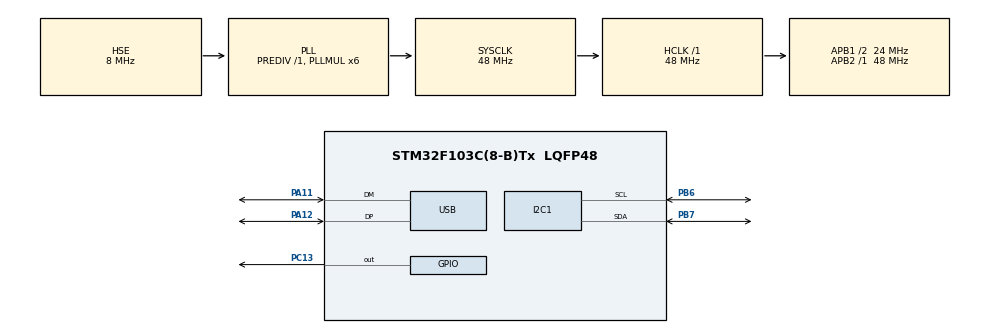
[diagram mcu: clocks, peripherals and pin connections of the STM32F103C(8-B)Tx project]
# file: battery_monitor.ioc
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Mcu.Family=STM32F1
Mcu.Name=STM32F103C(8-B)Tx
Mcu.Package=LQFP48
NVIC.PriorityGroup=NVIC_PRIORITYGROUP_4
NVIC.USB_LP_CAN1_RX0_IRQn=true\:0\:0\:false\:false\:true\:false\:true\:true
PA11.Mode=Device
PA11.Signal=USB_DM
PA12.Mode=Device
PA12.Signal=USB_DP
PA13.Mode=Serial_Wire
PA13.Signal=SYS_JTMS-SWDIO
PA14.Mode=Serial_Wire
PA14.Signal=SYS_JTCK-SWCLK
PB6.Mode=I2C
PB6.Signal=I2C1_SCL
PB7.Mode=I2C
PB7.Signal=I2C1_SDA
PC13-TAMPER-RTC.Signal=GPIO_Output
PD0-OSC_IN.Mode=HSE-External-Oscillator
PD0-OSC_IN.Signal=RCC_OSC_IN
PD1-OSC_OUT.Mode=HSE-External-Oscillator
PD1-OSC_OUT.Signal=RCC_OSC_OUT
ProjectManager.HeapSize=0x200
ProjectManager.StackSize=0x400
ProjectManager.TargetToolchain=CMake
RCC.AHBFreq_Value=48000000
RCC.APB1CLKDivider=RCC_HCLK_DIV2
RCC.APB1Freq_Value=24000000
RCC.APB1TimFreq_Value=48000000
RCC.APB2Freq_Value=48000000
RCC.APB2TimFreq_Value=48000000
RCC.HCLKFreq_Value=48000000
RCC.PLLMUL=RCC_PLL_MUL6
RCC.PLLSourceVirtual=RCC_PLLSOURCE_HSE
RCC.SYSCLKFreq_VALUE=48000000
RCC.SYSCLKSource=RCC_SYSCLKSOURCE_PLLCLK
RCC.USBFreq_Value=48000000
USB_DEVICE.CLASS_NAME_FS=CDC
USB_DEVICE.VirtualMode=Cdc
USB_DEVICE.VirtualModeFS=Cdc_FS
VP_USB_DEVICE_VS_USB_DEVICE_CDC_FS.Mode=CDC_FS
board=custom

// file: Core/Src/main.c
/* USER CODE BEGIN Header */
/**
  ******************************************************************************
  * @file           : main.c
  * @brief          : Main program body
  ******************************************************************************
  * @attention
  *
  * Copyright (c) 2026 STMicroelectronics.
  * All rights reserved.
  *
  * This software is licensed under terms that can be found in the LICENSE file
  * in the root directory of this software component.
  * If no LICENSE file comes with this software, it is provided AS-IS.
  *
  ******************************************************************************
  */
/* USER CODE END Header */
#include "main.h"
#include "usb_device.h"

/* USER CODE BEGIN Includes */
#include <stdio.h>
#include "bms.h"

/* USER CODE END Includes */

/* USER CODE BEGIN PD */

/** Time to wait on startup for a USB terminal to connect before printing. */
#define USB_CONNECT_DELAY_MS    10000U

/** How often to print a full BMS status report (milliseconds).
 *  Managed via bms.last_print_ms in the main loop. */
#define BMS_PRINT_INTERVAL_MS   10000U

/** LED toggle period in milliseconds (500ms = 1Hz blink rate). */
#define LED_HEARTBEAT_MS          500U

/** Fast LED blink period used during a fatal init failure (milliseconds). */
#define ERROR_BLINK_DELAY_MS      100U

/* USER CODE END PD */

I2C_HandleTypeDef hi2c1;

/* USER CODE BEGIN PV */
static bms_handle_t g_bms = {0};   /**< BMS system handle */
/* USER CODE END PV */

void SystemClock_Config(void);
static void MX_GPIO_Init(void);
static void MX_I2C1_Init(void);

int main(void)
{

  /* USER CODE BEGIN 1 */
  /* (no local variables — BMS handle is file-scope static g_bms) */
  /* USER CODE END 1 */

  /* MCU Configuration--------------------------------------------------------*/

  /* Reset of all peripherals, Initializes the Flash interface and the Systick. */
  HAL_Init();

  /* Configure the system clock */
  SystemClock_Config();

  /* Initialize all configured peripherals */
  MX_GPIO_Init();
  MX_I2C1_Init();
  MX_USB_DEVICE_Init();
  /* USER CODE BEGIN 2 */

  /* Wait for a USB terminal to connect before printing anything.
   * The BQ76920EVM also needs time to power up from the cell simulator. */
  HAL_Delay(USB_CONNECT_DELAY_MS);

  printf("\r\n\r\n");
  printf("========================================\r\n");
  printf("STM32 BQ76920 Battery Management System\r\n");
  printf("========================================\r\n");
  printf("Initialising BMS...\r\n");

  /* Initialise the BMS state machine.
   * bms_init() handles: BQ76920 driver init, ADC enable, temperature source
   * selection, FET enable, and initial state setup.
   *
   * NOTE: The following driver features are NOT yet integration-tested
   * and will be verified in subsequent test phases:
   *   - FET control (OV/UV/OT fault response) — Phase 5
   *   - Current measurement                   — Phase 3
   */
  if (!bms_init(&g_bms, &hi2c1))
  {
      printf("ERROR: BMS initialisation failed!\r\n");
      printf("Check I2C wiring, pull-up resistors, and BQ76920 power.\r\n");
      while (1)
      {
          HAL_GPIO_TogglePin(LED_GPIO_PORT, LED_PIN);
          HAL_Delay(ERROR_BLINK_DELAY_MS);
      }
  }

  printf("BMS initialised successfully.\r\n");

  /* Start the status print timer NOW so the first bms_print_status call
   * happens BMS_PRINT_INTERVAL_MS (10s) after init, not at t=0.
   * Without this, last_print_ms=0 and the first loop iteration fires
   * immediately because HAL_GetTick() >= USB_CONNECT_DELAY_MS = 10000. */
  g_bms.last_print_ms = HAL_GetTick();

  /* USER CODE END 2 */

  /* Infinite loop */
  while (1)
  {

    /* USER CODE BEGIN 3 */

    /* Run one tick of the BMS state machine.
     * This is non-blocking — all timing is handled internally via HAL_GetTick().
     * Normal cycle: IDLE -> MEASURE -> CHECK_FAULTS -> IDLE (every 2 seconds) */
    bms_run(&g_bms);

    /* Periodic full status report */
    if ((HAL_GetTick() - g_bms.last_print_ms) >= BMS_PRINT_INTERVAL_MS)
    {
        bms_print_status(&g_bms);
        g_bms.last_print_ms = HAL_GetTick();
    }

    /* LED heartbeat — 1Hz blink to show firmware is running */
    HAL_GPIO_TogglePin(LED_GPIO_PORT, LED_PIN);
    HAL_Delay(LED_HEARTBEAT_MS);

  }
  /* USER CODE END 3 */
}

void SystemClock_Config(void)
{
  RCC_OscInitTypeDef RCC_OscInitStruct = {0};
  RCC_ClkInitTypeDef RCC_ClkInitStruct = {0};
  RCC_PeriphCLKInitTypeDef PeriphClkInit = {0};

  /** Initializes the RCC Oscillators according to the specified parameters
  * in the RCC_OscInitTypeDef structure.
  */
  RCC_OscInitStruct.OscillatorType = RCC_OSCILLATORTYPE_HSE;
  RCC_OscInitStruct.HSEState = RCC_HSE_ON;
  RCC_OscInitStruct.HSEPredivValue = RCC_HSE_PREDIV_DIV1;
  RCC_OscInitStruct.HSIState = RCC_HSI_ON;
  RCC_OscInitStruct.PLL.PLLState = RCC_PLL_ON;
  RCC_OscInitStruct.PLL.PLLSource = RCC_PLLSOURCE_HSE;
  RCC_OscInitStruct.PLL.PLLMUL = RCC_PLL_MUL6;
  if (HAL_RCC_OscConfig(&RCC_OscInitStruct) != HAL_OK)
  {
    Error_Handler();
  }

  /** Initializes the CPU, AHB and APB buses clocks
  */
  RCC_ClkInitStruct.ClockType = RCC_CLOCKTYPE_HCLK|RCC_CLOCKTYPE_SYSCLK
                              |RCC_CLOCKTYPE_PCLK1|RCC_CLOCKTYPE_PCLK2;
  RCC_ClkInitStruct.SYSCLKSource = RCC_SYSCLKSOURCE_PLLCLK;
  RCC_ClkInitStruct.AHBCLKDivider = RCC_SYSCLK_DIV1;
  RCC_ClkInitStruct.APB1CLKDivider = RCC_HCLK_DIV2;
  RCC_ClkInitStruct.APB2CLKDivider = RCC_HCLK_DIV1;

  if (HAL_RCC_ClockConfig(&RCC_ClkInitStruct, FLASH_LATENCY_1) != HAL_OK)
  {
    Error_Handler();
  }
  PeriphClkInit.PeriphClockSelection = RCC_PERIPHCLK_USB;
  PeriphClkInit.UsbClockSelection = RCC_USBCLKSOURCE_PLL;
  if (HAL_RCCEx_PeriphCLKConfig(&PeriphClkInit) != HAL_OK)
  {
    Error_Handler();
  }
}

static void MX_I2C1_Init(void)
{

  hi2c1.Instance = I2C1;
  hi2c1.Init.ClockSpeed = 100000;
  hi2c1.Init.DutyCycle = I2C_DUTYCYCLE_2;
  hi2c1.Init.OwnAddress1 = 0;
  hi2c1.Init.AddressingMode = I2C_ADDRESSINGMODE_7BIT;
  hi2c1.Init.DualAddressMode = I2C_DUALADDRESS_DISABLE;
  hi2c1.Init.OwnAddress2 = 0;
  hi2c1.Init.GeneralCallMode = I2C_GENERALCALL_DISABLE;
  hi2c1.Init.NoStretchMode = I2C_NOSTRETCH_DISABLE;
  if (HAL_I2C_Init(&hi2c1) != HAL_OK)
  {
    Error_Handler();
  }

}

static void MX_GPIO_Init(void)
{
  GPIO_InitTypeDef GPIO_InitStruct = {0};

  /* GPIO Ports Clock Enable */
  __HAL_RCC_GPIOC_CLK_ENABLE();
  __HAL_RCC_GPIOD_CLK_ENABLE();
  __HAL_RCC_GPIOA_CLK_ENABLE();
  __HAL_RCC_GPIOB_CLK_ENABLE();

  /*Configure GPIO pin Output Level */
  HAL_GPIO_WritePin(GPIOC, GPIO_PIN_13, GPIO_PIN_RESET);

  /*Configure GPIO pin : PC13 */
  GPIO_InitStruct.Pin = GPIO_PIN_13;
  GPIO_InitStruct.Mode = GPIO_MODE_OUTPUT_PP;
  GPIO_InitStruct.Pull = GPIO_NOPULL;
  GPIO_InitStruct.Speed = GPIO_SPEED_FREQ_LOW;
  HAL_GPIO_Init(GPIOC, &GPIO_InitStruct);

}

void Error_Handler(void)
{
  __disable_irq();
  while (1)
  {
  }
}
